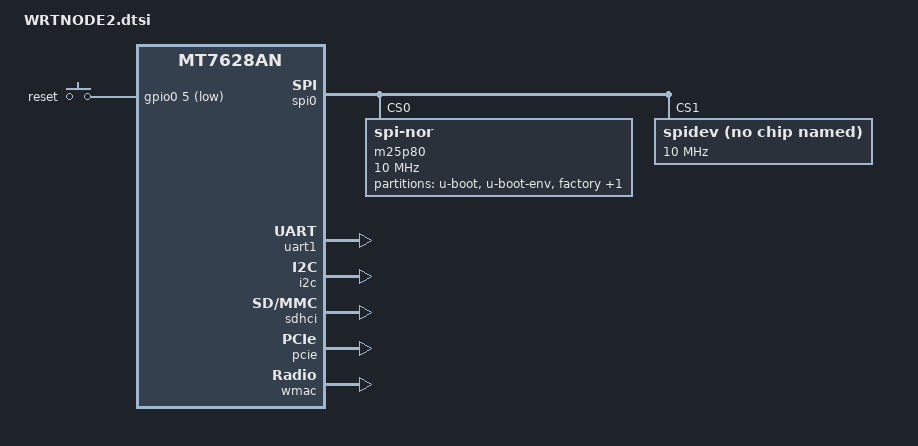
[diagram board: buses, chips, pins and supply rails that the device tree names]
#include "mt7628an.dtsi"

/ {
	chosen {
		bootargs = "console=ttyS0,115200";
	};

	gpio-keys-polled {
		compatible = "gpio-keys-polled";
		#address-cells = <1>;
		#size-cells = <0>;
		poll-interval = <20>;

		reset {
			label = "reset";
			gpios = <&gpio0 5 1>;
			linux,code = <0x198>;
		};
	};
};

&spi0 {
	status = "okay";

	m25p80@0 {
		#address-cells = <1>;
		#size-cells = <1>;
		compatible = "jedec,spi-nor";
		reg = <0>;
		spi-max-frequency = <10000000>;
		m25p,chunked-io = <32>;

		partition@0 {
			label = "u-boot";
			reg = <0x0 0x30000>;
			read-only;
		};

		partition@30000 {
			label = "u-boot-env";
			reg = <0x30000 0x10000>;
			read-only;
		};

		factory: partition@40000 {
			label = "factory";
			reg = <0x40000 0x10000>;
			read-only;
		};

		partition@50000 {
			label = "firmware";
			reg = <0x50000 0x1fb0000>;
		};
	};

	spidev@1 {
		#address-cells = <1>;
		#size-cells = <1>;
		compatible = "linux,spidev";
		reg = <1>;
		spi-max-frequency = <10000000>;
	};
};

&uart1 {
	status = "okay";
};

&i2c {
	status = "okay";
};

&ethernet {
	mtd-mac-address = <&factory 0x4>;
	ralink,port-map = "llllw";
};

&sdhci {
	status = "okay";
};

&pcie {
	status = "okay";
};

&wmac {
	status = "okay";
};
